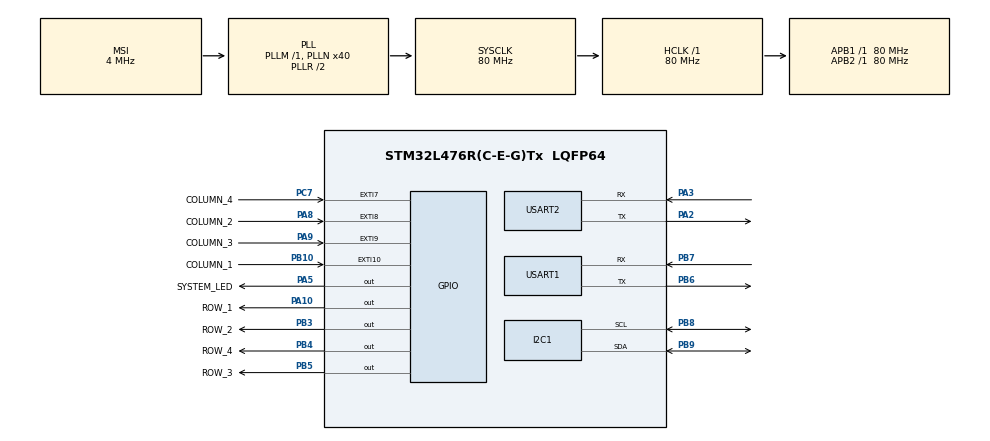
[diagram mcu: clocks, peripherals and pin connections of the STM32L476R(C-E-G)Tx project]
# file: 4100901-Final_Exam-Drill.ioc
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I2C1.Timing=0x10D19CE4
Mcu.Family=STM32L4
Mcu.Name=STM32L476R(C-E-G)Tx
Mcu.Package=LQFP64
NVIC.EXTI15_10_IRQn=true\:0\:0\:false\:false\:true\:true\:true\:true
NVIC.EXTI9_5_IRQn=true\:0\:0\:false\:false\:true\:true\:true\:true
NVIC.PriorityGroup=NVIC_PRIORITYGROUP_4
NVIC.USART1_IRQn=true\:0\:0\:false\:false\:true\:true\:true\:true
NVIC.USART2_IRQn=true\:0\:0\:false\:false\:true\:true\:true\:true
PA10.GPIO_Label=ROW_1
PA10.PinState=GPIO_PIN_SET
PA10.Signal=GPIO_Output
PA2.Mode=Asynchronous
PA2.Signal=USART2_TX
PA3.Mode=Asynchronous
PA3.Signal=USART2_RX
PA5.GPIO_Label=SYSTEM_LED
PA5.Signal=GPIO_Output
PA8.GPIO_Label=COLUMN_2
PA8.GPIO_ModeDefaultEXTI=GPIO_MODE_IT_RISING
PA8.GPIO_PuPd=GPIO_PULLDOWN
PA8.Signal=GPXTI8
PA9.GPIO_Label=COLUMN_3
PA9.GPIO_ModeDefaultEXTI=GPIO_MODE_IT_RISING
PA9.GPIO_PuPd=GPIO_PULLDOWN
PA9.Signal=GPXTI9
PB10.GPIO_Label=COLUMN_1
PB10.GPIO_ModeDefaultEXTI=GPIO_MODE_IT_RISING
PB10.GPIO_PuPd=GPIO_PULLDOWN
PB10.Signal=GPXTI10
PB3\ (JTDO-TRACESWO).GPIO_Label=ROW_2
PB3\ (JTDO-TRACESWO).PinState=GPIO_PIN_SET
PB3\ (JTDO-TRACESWO).Signal=GPIO_Output
PB4\ (NJTRST).GPIO_Label=ROW_4
PB4\ (NJTRST).PinState=GPIO_PIN_SET
PB4\ (NJTRST).Signal=GPIO_Output
PB5.GPIO_Label=ROW_3
PB5.PinState=GPIO_PIN_SET
PB5.Signal=GPIO_Output
PB6.Mode=Asynchronous
PB6.Signal=USART1_TX
PB7.Mode=Asynchronous
PB7.Signal=USART1_RX
PB8.Mode=I2C
PB8.Signal=I2C1_SCL
PB9.Mode=I2C
PB9.Signal=I2C1_SDA
PC7.GPIO_Label=COLUMN_4
PC7.GPIO_ModeDefaultEXTI=GPIO_MODE_IT_RISING
PC7.GPIO_PuPd=GPIO_PULLDOWN
PC7.Signal=GPXTI7
ProjectManager.HeapSize=0x200
ProjectManager.StackSize=0x400
ProjectManager.TargetToolchain=STM32CubeIDE
RCC.AHBFreq_Value=80000000
RCC.APB1Freq_Value=80000000
RCC.APB1TimFreq_Value=80000000
RCC.APB2Freq_Value=80000000
RCC.APB2TimFreq_Value=80000000
RCC.CortexFreq_Value=80000000
RCC.HCLKFreq_Value=80000000
RCC.HSE_VALUE=8000000
RCC.HSI_VALUE=16000000
RCC.LSE_VALUE=32768
RCC.MSI_VALUE=4000000
RCC.PLLN=40
RCC.SYSCLKFreq_VALUE=80000000
RCC.SYSCLKSource=RCC_SYSCLKSOURCE_PLLCLK
RCC.VCOOutputFreq_Value=160000000
USART1.VirtualMode-Asynchronous=VM_ASYNC
USART2.VirtualMode-Asynchronous=VM_ASYNC
board=custom

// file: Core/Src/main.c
/* USER CODE BEGIN Header */
/**
  ******************************************************************************
  * @file           : main.c
  * @brief          : Main program body
  ******************************************************************************
  * @attention
  *
  * Copyright (c) 2024 STMicroelectronics.
  * All rights reserved.
  *
  * This software is licensed under terms that can be found in the LICENSE file
  * in the root directory of this software component.
  * If no LICENSE file comes with this software, it is provided AS-IS.
  *
  ******************************************************************************
  */
/* USER CODE END Header */
#include "main.h"

/* USER CODE BEGIN Includes */
#include <stdio.h>

#include "ssd1306.h"
#include "ssd1306_fonts.h"
#include <ctype.h>  // for isdigit
#include <string.h>  // for strcmp
#include "ring_buffer.h"
#include "keypad.h"
/* USER CODE END Includes */

I2C_HandleTypeDef hi2c1;

UART_HandleTypeDef huart1;
UART_HandleTypeDef huart2;

/* USER CODE BEGIN PV */

#define USART2_BUFFER_SIZE 8
uint8_t usart2_buffer[USART2_BUFFER_SIZE];
ring_buffer_t usart2_rb;
uint8_t usart2_rx;

uint32_t left_toggles = 0;
uint32_t left_last_press_tick = 0;

#define MAX_DIGITS 5 // Ajusta según la cantidad máxima de dígitos

char digits[MAX_DIGITS+1] = {0}; // Arreglo para almacenar los dígitos
int digit_count = 0;

/* USER CODE END PV */

void SystemClock_Config(void);
static void MX_GPIO_Init(void);
static void MX_USART2_UART_Init(void);
static void MX_USART1_UART_Init(void);
static void MX_I2C1_Init(void);

/* USER CODE BEGIN 0 */
int _write(int file, char *ptr, int len)
{
  HAL_UART_Transmit(&huart2, (uint8_t *)ptr, len, 10);
  return len;
}

void HAL_GPIO_EXTI_Callback(uint16_t GPIO_Pin)
{

	    uint8_t key_pressed = keypad_scan(GPIO_Pin);
	    process_keypad_input(key_pressed);

	}

void low_power_mode()
{
#define AWAKE_TIME (10 * 1000) // 10 segundos
	static uint32_t sleep_tick = AWAKE_TIME;

	if (sleep_tick > HAL_GetTick()) {
		return;
	}
	printf("Sleeping\r\n");
	sleep_tick = HAL_GetTick() + AWAKE_TIME;

	RCC->AHB1SMENR  = 0x0;
	RCC->AHB2SMENR  = 0x0;
	RCC->AHB3SMENR  = 0x0;

	RCC->APB1SMENR1 = 0x0;
	RCC->APB1SMENR2 = 0x0;
	RCC->APB2SMENR  = 0x0;

	/*Suspend Tick increment to prevent wakeup by Systick interrupt.
	Otherwise the Systick interrupt will wake up the device within 1ms (HAL time base)*/
	HAL_SuspendTick();

	/* Enter Sleep Mode , wake up is done once User push-button is pressed */
	HAL_PWR_EnterSLEEPMode(PWR_MAINREGULATOR_ON, PWR_SLEEPENTRY_WFI);

	/* Resume Tick interrupt if disabled prior to SLEEP mode entry */
	HAL_ResumeTick();

	printf("Awake\r\n");
}

#define MAX_PASSWORD_LENGTH 10 // Ajusta según la longitud de tu clave
char password[] = "1087834596"; // Reemplaza con tu clave deseada
char input_password[MAX_PASSWORD_LENGTH + 1]; // +1 para el carácter nulo
int current_index = 0;

#include <stdio.h>
#include <string.h>
#include "ssd1306.h"
#include "keypad.h"

void process_keypad_input(uint8_t key_pressed) {
    if (isdigit(key_pressed)) {
        // Agregar dígito a la clave
        input_password[current_index++] = key_pressed;
        input_password[current_index] = '\0'; // Agrega el terminador nulo al final
        ssd1306_write_string_at(10, 15, input_password, Font_7x10); // Muestra la contraseña ingresada
    } else if (key_pressed == '#') {
        // Validar la clave solo al presionar '#'
        if (strcmp(input_password, password) == 0) {
            printf("Clave correcta!\n");
            ssd1306_write_string_at(10, 25, "Clave correcta!", Font_7x10);
            // Aquí puedes hacer otras acciones como activar un LED o abrir una puerta
        } else {
            printf("Clave incorrecta!\n");
            ssd1306_write_string_at(10, 25, "Clave incorrecta!", Font_7x10);
        }
        // Resetea para una nueva entrada de clave
        memset(input_password, 0, sizeof(input_password));
        current_index = 0;
    } else if (key_pressed == '*') {
        // Resetea la entrada cuando se presiona '*'
        printf("Reseteando clave...\n");
        memset(input_password, 0, sizeof(input_password));
        current_index = 0;
        ssd1306_Fill(Black); // Limpiar la pantalla
        ssd1306_UpdateScreen();
    }
}

void ssd1306_write_string_at(int x, int y, const char* str, uint8_t font) {
	ssd1306_Fill(Black);

	ssd1306_SetCursor(x, y);
  ssd1306_WriteString((char*)str, Font_7x10, White);
  ssd1306_UpdateScreen();
}

void update_display() {
    // Limpiar la pantalla (asumiendo que ssd1306_Fill(Black) limpia la pantalla)
	ssd1306_SetCursor(10,15 );
	ssd1306_Fill(Black);
     ssd1306_WriteString(digits, Font_7x10, White);
     ssd1306_UpdateScreen();// Replace White with desired color
}

/* USER CODE END 0 */

int main(void)
{

  /* MCU Configuration--------------------------------------------------------*/

  /* Reset of all peripherals, Initializes the Flash interface and the Systick. */
  HAL_Init();

  /* Configure the system clock */
  SystemClock_Config();

  /* Initialize all configured peripherals */
  MX_GPIO_Init();
  MX_USART2_UART_Init();
  MX_USART1_UART_Init();
  MX_I2C1_Init();
  /* USER CODE BEGIN 2 */

  ssd1306_Init();
  ssd1306_Fill(Black);
  ssd1306_SetCursor(30, 30);
  ssd1306_WriteString("Welcome!", Font_7x10, White);
  ssd1306_UpdateScreen();

  ring_buffer_init(&usart2_rb, usart2_buffer, USART2_BUFFER_SIZE);
  /* USER CODE END 2 */

  /* Infinite loop */
  /* USER CODE BEGIN WHILE */
  printf("Starting...\r\n");
  //HAL_UART_Receive_IT(&huart2, &usart2_rx, 1); // enable interrupt for USART2 Rx
  ATOMIC_SET_BIT(USART2->CR1, USART_CR1_RXNEIE); // usando un funcion mas liviana para reducir memoria
  while (1) {

	  if (ring_buffer_is_full(&usart2_rb) != 0) {
		  printf("Received:\r\n");
		  while (ring_buffer_is_empty(&usart2_rb) == 0) {
			  uint8_t data;
			  ring_buffer_read(&usart2_rb, &data);
			  HAL_UART_Transmit(&huart2, &data, 1, 10);
		  }
		  printf("\r\n");
	  }
	  low_power_mode();
    /* USER CODE END WHILE */

  }
}

void SystemClock_Config(void)
{
  RCC_OscInitTypeDef RCC_OscInitStruct = {0};
  RCC_ClkInitTypeDef RCC_ClkInitStruct = {0};

  /** Configure the main internal regulator output voltage
  */
  if (HAL_PWREx_ControlVoltageScaling(PWR_REGULATOR_VOLTAGE_SCALE1) != HAL_OK)
  {
    Error_Handler();
  }

  /** Initializes the RCC Oscillators according to the specified parameters
  * in the RCC_OscInitTypeDef structure.
  */
  RCC_OscInitStruct.OscillatorType = RCC_OSCILLATORTYPE_MSI;
  RCC_OscInitStruct.MSIState = RCC_MSI_ON;
  RCC_OscInitStruct.MSICalibrationValue = 0;
  RCC_OscInitStruct.MSIClockRange = RCC_MSIRANGE_6;
  RCC_OscInitStruct.PLL.PLLState = RCC_PLL_ON;
  RCC_OscInitStruct.PLL.PLLSource = RCC_PLLSOURCE_MSI;
  RCC_OscInitStruct.PLL.PLLM = 1;
  RCC_OscInitStruct.PLL.PLLN = 40;
  RCC_OscInitStruct.PLL.PLLP = RCC_PLLP_DIV7;
  RCC_OscInitStruct.PLL.PLLQ = RCC_PLLQ_DIV2;
  RCC_OscInitStruct.PLL.PLLR = RCC_PLLR_DIV2;
  if (HAL_RCC_OscConfig(&RCC_OscInitStruct) != HAL_OK)
  {
    Error_Handler();
  }

  /** Initializes the CPU, AHB and APB buses clocks
  */
  RCC_ClkInitStruct.ClockType = RCC_CLOCKTYPE_HCLK|RCC_CLOCKTYPE_SYSCLK
                              |RCC_CLOCKTYPE_PCLK1|RCC_CLOCKTYPE_PCLK2;
  RCC_ClkInitStruct.SYSCLKSource = RCC_SYSCLKSOURCE_PLLCLK;
  RCC_ClkInitStruct.AHBCLKDivider = RCC_SYSCLK_DIV1;
  RCC_ClkInitStruct.APB1CLKDivider = RCC_HCLK_DIV1;
  RCC_ClkInitStruct.APB2CLKDivider = RCC_HCLK_DIV1;

  if (HAL_RCC_ClockConfig(&RCC_ClkInitStruct, FLASH_LATENCY_4) != HAL_OK)
  {
    Error_Handler();
  }
}

static void MX_I2C1_Init(void)
{

  hi2c1.Instance = I2C1;
  hi2c1.Init.Timing = 0x10D19CE4;
  hi2c1.Init.OwnAddress1 = 0;
  hi2c1.Init.AddressingMode = I2C_ADDRESSINGMODE_7BIT;
  hi2c1.Init.DualAddressMode = I2C_DUALADDRESS_DISABLE;
  hi2c1.Init.OwnAddress2 = 0;
  hi2c1.Init.OwnAddress2Masks = I2C_OA2_NOMASK;
  hi2c1.Init.GeneralCallMode = I2C_GENERALCALL_DISABLE;
  hi2c1.Init.NoStretchMode = I2C_NOSTRETCH_DISABLE;
  if (HAL_I2C_Init(&hi2c1) != HAL_OK)
  {
    Error_Handler();
  }

  /** Configure Analogue filter
  */
  if (HAL_I2CEx_ConfigAnalogFilter(&hi2c1, I2C_ANALOGFILTER_ENABLE) != HAL_OK)
  {
    Error_Handler();
  }

  /** Configure Digital filter
  */
  if (HAL_I2CEx_ConfigDigitalFilter(&hi2c1, 0) != HAL_OK)
  {
    Error_Handler();
  }

}

static void MX_USART1_UART_Init(void)
{

  huart1.Instance = USART1;
  huart1.Init.BaudRate = 115200;
  huart1.Init.WordLength = UART_WORDLENGTH_8B;
  huart1.Init.StopBits = UART_STOPBITS_1;
  huart1.Init.Parity = UART_PARITY_NONE;
  huart1.Init.Mode = UART_MODE_TX_RX;
  huart1.Init.HwFlowCtl = UART_HWCONTROL_NONE;
  huart1.Init.OverSampling = UART_OVERSAMPLING_16;
  huart1.Init.OneBitSampling = UART_ONE_BIT_SAMPLE_DISABLE;
  huart1.AdvancedInit.AdvFeatureInit = UART_ADVFEATURE_NO_INIT;
  if (HAL_UART_Init(&huart1) != HAL_OK)
  {
    Error_Handler();
  }

}

static void MX_USART2_UART_Init(void)
{

  huart2.Instance = USART2;
  huart2.Init.BaudRate = 115200;
  huart2.Init.WordLength = UART_WORDLENGTH_8B;
  huart2.Init.StopBits = UART_STOPBITS_1;
  huart2.Init.Parity = UART_PARITY_NONE;
  huart2.Init.Mode = UART_MODE_TX_RX;
  huart2.Init.HwFlowCtl = UART_HWCONTROL_NONE;
  huart2.Init.OverSampling = UART_OVERSAMPLING_16;
  huart2.Init.OneBitSampling = UART_ONE_BIT_SAMPLE_DISABLE;
  huart2.AdvancedInit.AdvFeatureInit = UART_ADVFEATURE_NO_INIT;
  if (HAL_UART_Init(&huart2) != HAL_OK)
  {
    Error_Handler();
  }

}

static void MX_GPIO_Init(void)
{
  GPIO_InitTypeDef GPIO_InitStruct = {0};

  /* GPIO Ports Clock Enable */
  __HAL_RCC_GPIOA_CLK_ENABLE();
  __HAL_RCC_GPIOB_CLK_ENABLE();
  __HAL_RCC_GPIOC_CLK_ENABLE();

  /*Configure GPIO pin Output Level */
  HAL_GPIO_WritePin(SYSTEM_LED_GPIO_Port, SYSTEM_LED_Pin, GPIO_PIN_RESET);

  /*Configure GPIO pin Output Level */
  HAL_GPIO_WritePin(ROW_1_GPIO_Port, ROW_1_Pin, GPIO_PIN_SET);

  /*Configure GPIO pin Output Level */
  HAL_GPIO_WritePin(GPIOB, ROW_2_Pin|ROW_4_Pin|ROW_3_Pin, GPIO_PIN_SET);

  /*Configure GPIO pins : SYSTEM_LED_Pin ROW_1_Pin */
  GPIO_InitStruct.Pin = SYSTEM_LED_Pin|ROW_1_Pin;
  GPIO_InitStruct.Mode = GPIO_MODE_OUTPUT_PP;
  GPIO_InitStruct.Pull = GPIO_NOPULL;
  GPIO_InitStruct.Speed = GPIO_SPEED_FREQ_LOW;
  HAL_GPIO_Init(GPIOA, &GPIO_InitStruct);

  /*Configure GPIO pin : COLUMN_1_Pin */
  GPIO_InitStruct.Pin = COLUMN_1_Pin;
  GPIO_InitStruct.Mode = GPIO_MODE_IT_RISING;
  GPIO_InitStruct.Pull = GPIO_PULLDOWN;
  HAL_GPIO_Init(COLUMN_1_GPIO_Port, &GPIO_InitStruct);

  /*Configure GPIO pin : COLUMN_4_Pin */
  GPIO_InitStruct.Pin = COLUMN_4_Pin;
  GPIO_InitStruct.Mode = GPIO_MODE_IT_RISING;
  GPIO_InitStruct.Pull = GPIO_PULLDOWN;
  HAL_GPIO_Init(COLUMN_4_GPIO_Port, &GPIO_InitStruct);

  /*Configure GPIO pins : COLUMN_2_Pin COLUMN_3_Pin */
  GPIO_InitStruct.Pin = COLUMN_2_Pin|COLUMN_3_Pin;
  GPIO_InitStruct.Mode = GPIO_MODE_IT_RISING;
  GPIO_InitStruct.Pull = GPIO_PULLDOWN;
  HAL_GPIO_Init(GPIOA, &GPIO_InitStruct);

  /*Configure GPIO pins : ROW_2_Pin ROW_4_Pin ROW_3_Pin */
  GPIO_InitStruct.Pin = ROW_2_Pin|ROW_4_Pin|ROW_3_Pin;
  GPIO_InitStruct.Mode = GPIO_MODE_OUTPUT_PP;
  GPIO_InitStruct.Pull = GPIO_NOPULL;
  GPIO_InitStruct.Speed = GPIO_SPEED_FREQ_LOW;
  HAL_GPIO_Init(GPIOB, &GPIO_InitStruct);

  /* EXTI interrupt init*/
  HAL_NVIC_SetPriority(EXTI9_5_IRQn, 0, 0);
  HAL_NVIC_EnableIRQ(EXTI9_5_IRQn);

  HAL_NVIC_SetPriority(EXTI15_10_IRQn, 0, 0);
  HAL_NVIC_EnableIRQ(EXTI15_10_IRQn);

}

void Error_Handler(void)
{
  __disable_irq();
  while (1)
  {
  }
}
